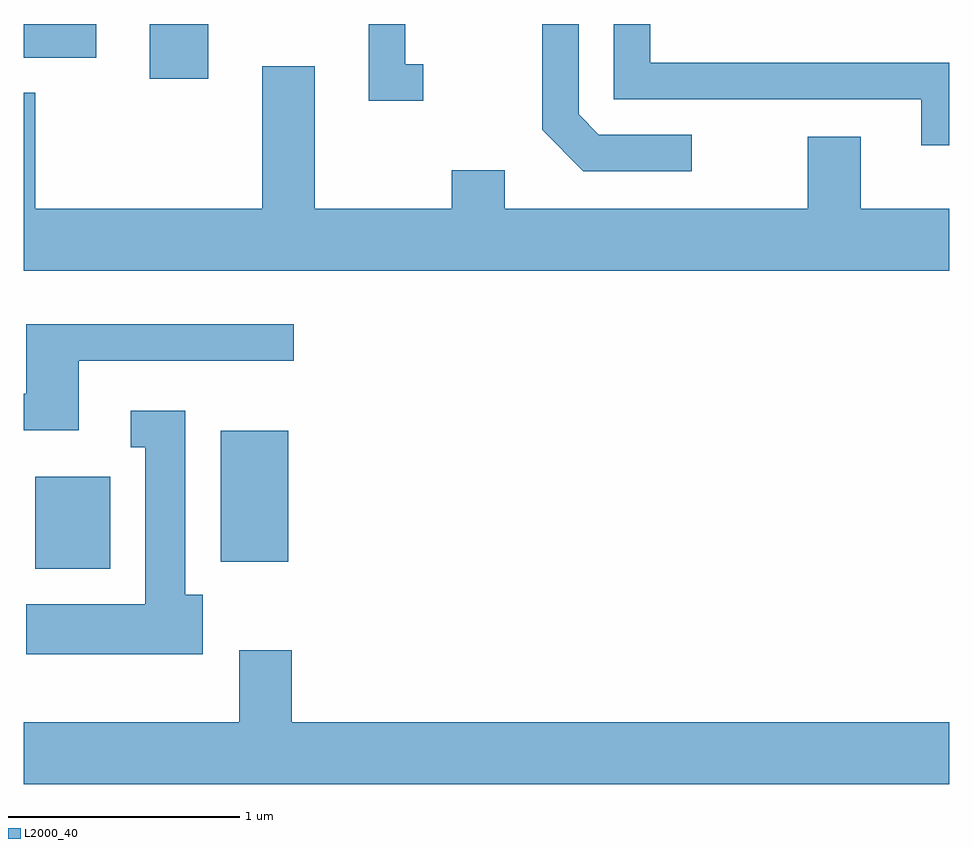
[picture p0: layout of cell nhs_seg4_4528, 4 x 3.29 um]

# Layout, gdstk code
import gdstk
lib = gdstk.Library(unit=1e-6, precision=1e-09)
def R(c, l, rs):  # rectangles x0, y0, x1, y1
    for r in rs: c.add(gdstk.rectangle(r[:2], r[2:], *l))
def P(c, l, *ps):  # polygons
    for p in ps: c.add(gdstk.Polygon(p, *l))
L2000_40 = (2000, 40)

nhs_seg4_4528 = lib.new_cell('nhs_seg4_4528')
R(nhs_seg4_4528, L2000_40, [(317.661,1335.626,317.984,1336.024), (318.461,1335.656,318.754,1336.224), (318.156,1337.746,318.409,1337.982), (317.611,1337.836,317.924,1337.982)])
P(nhs_seg4_4528, L2000_40, [(321.611,1337.814),(320.319,1337.814),(320.319,1337.982),(320.161,1337.982),(320.161,1337.656),(321.491,1337.656),(321.491,1337.458),(321.611,1337.458)],
  [(319.338,1337.809),(319.259,1337.809),(319.259,1337.982),(319.101,1337.982),(319.101,1337.651),(319.338,1337.651)],
  [(320.498,1337.504),(320.097,1337.504),(320.009,1337.592),(320.009,1337.982),(319.851,1337.982),(319.851,1337.524),(320.029,1337.346),(320.498,1337.346)],
  [(321.611,1337.184),(321.229,1337.184),(321.229,1337.494),(321.001,1337.494),(321.001,1337.184),(319.689,1337.184),(319.689,1337.349),(319.461,1337.349),(319.461,1337.184),(318.869,1337.184),(318.869,1337.799),(318.641,1337.799),(318.641,1337.184),(317.659,1337.184),(317.659,1337.684),(317.611,1337.684),(317.611,1336.916),(321.611,1336.916)],
  [(317.849,1336.526),(318.778,1336.526),(318.778,1336.684),(317.621,1336.684),(317.621,1336.384),(317.611,1336.384),(317.611,1336.226),(317.849,1336.226)],
  [(318.384,1335.514),(318.309,1335.514),(318.309,1336.309),(318.073,1336.309),(318.073,1336.151),(318.136,1336.151),(318.136,1335.474),(317.621,1335.474),(317.621,1335.256),(318.384,1335.256)],
  [(321.611,1334.964),(318.769,1334.964),(318.769,1335.274),(318.541,1335.274),(318.541,1334.964),(317.611,1334.964),(317.611,1334.696),(321.611,1334.696)])

lib.write_gds('nhs_seg4_4528.gds')
